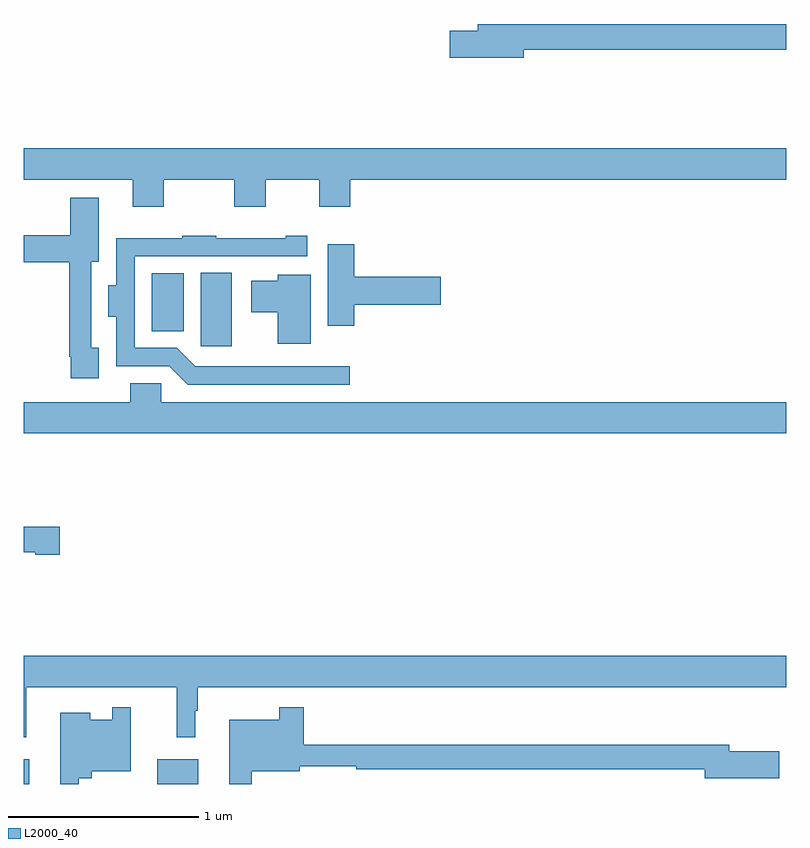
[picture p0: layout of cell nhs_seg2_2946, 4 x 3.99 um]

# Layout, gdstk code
import gdstk
lib = gdstk.Library(unit=1e-6, precision=1e-09)
def R(c, l, rs):  # rectangles x0, y0, x1, y1
    for r in rs: c.add(gdstk.rectangle(r[:2], r[2:], *l))
def P(c, l, *ps):  # polygons
    for p in ps: c.add(gdstk.Polygon(p, *l))
L2000_40 = (2000, 40)

nhs_seg2_2946 = lib.new_cell('nhs_seg2_2946')
R(nhs_seg2_2946, L2000_40, [(265,641.8,265.027,641.929), (265.7,641.8,265.915,641.929), (265.928,644.097,266.092,644.483), (265.67,644.177,265.84,644.479)])
P(nhs_seg2_2946, L2000_40, [(267.622,645.652),(269,645.652),(269,645.788),(267.383,645.788),(267.383,645.752),(267.234,645.752),(267.234,645.61),(267.622,645.61)],
  [(265.735,644.972),(266.105,644.972),(266.105,644.829),(266.269,644.829),(266.269,644.972),(266.549,644.972),(266.549,644.829),(266.713,644.829),(266.713,644.972),(269,644.972),(269,645.136),(265,645.136),(265,644.972),(265.571,644.972),(265.571,644.829),(265.735,644.829)],
  [(265.393,644.089),(265.353,644.089),(265.353,644.54),(265.393,644.54),(265.393,644.875),(265.244,644.875),(265.244,644.679),(265,644.679),(265,644.537),(265.237,644.537),(265.237,644.041),(265.245,644.041),(265.245,643.929),(265.393,643.929)],
  [(266.71,643.992),(265.899,643.992),(265.803,644.088),(265.581,644.088),(265.581,644.568),(266.488,644.568),(266.488,644.677),(266.375,644.677),(266.375,644.665),(266.009,644.665),(266.009,644.677),(265.831,644.677),(265.831,644.665),(265.485,644.665),(265.485,644.416),(265.442,644.416),(265.442,644.252),(265.484,644.252),(265.484,643.992),(265.764,643.992),(265.86,643.896),(266.71,643.896)],
  [(266.735,644.315),(267.187,644.315),(267.187,644.462),(266.735,644.462),(266.735,644.632),(266.594,644.632),(266.594,644.205),(266.735,644.205)],
  [(266.506,644.473),(266.333,644.473),(266.333,644.44),(266.193,644.44),(266.193,644.276),(266.333,644.276),(266.333,644.111),(266.506,644.111)],
  [(269,643.804),(265.722,643.804),(265.722,643.902),(265.559,643.902),(265.559,643.804),(265,643.804),(265,643.64),(269,643.64)],
  [(265.189,643.151),(265,643.151),(265,643.016),(265.059,643.016),(265.059,643.004),(265.189,643.004)],
  [(265.012,642.308),(265.801,642.308),(265.801,642.045),(265.9,642.045),(265.9,642.185),(265.912,642.185),(265.912,642.308),(269,642.308),(269,642.472),(265,642.472),(265,642.045),(265.012,642.045)],
  [(266.195,641.867),(266.449,641.867),(266.449,641.893),(266.745,641.893),(266.745,641.878),(268.574,641.878),(268.574,641.831),(268.963,641.831),(268.963,641.973),(268.702,641.973),(268.702,642.007),(266.468,642.007),(266.468,642.202),(266.34,642.202),(266.34,642.136),(266.078,642.136),(266.078,641.8),(266.195,641.8)],
  [(265.287,641.831),(265.356,641.831),(265.356,641.867),(265.56,641.867),(265.56,642.202),(265.464,642.202),(265.464,642.136),(265.348,642.136),(265.348,642.175),(265.19,642.175),(265.19,641.8),(265.287,641.8)])

lib.write_gds('nhs_seg2_2946.gds')
